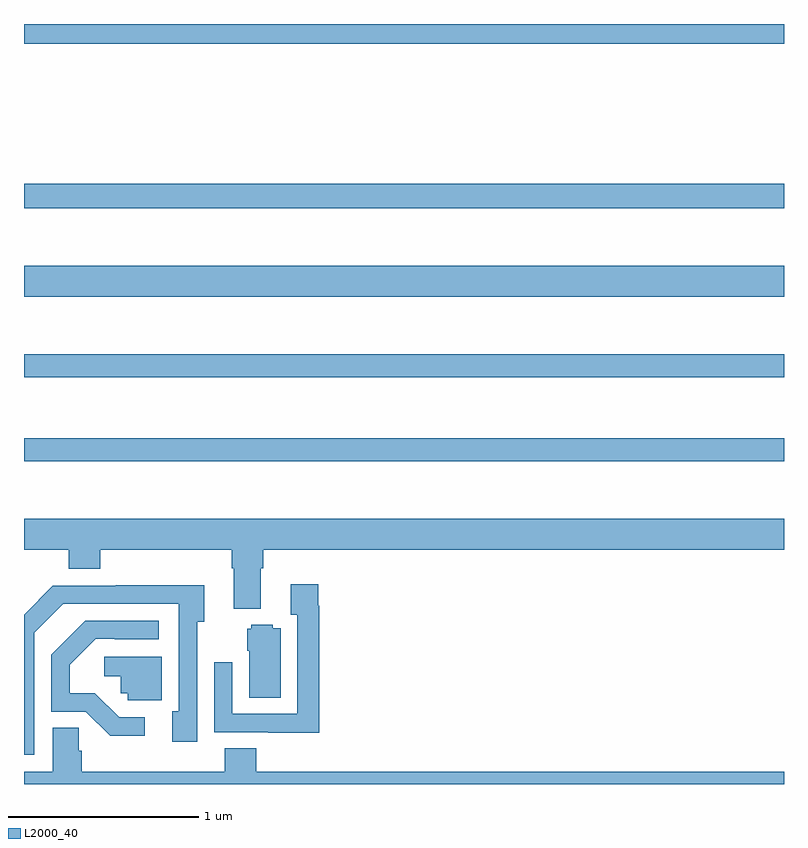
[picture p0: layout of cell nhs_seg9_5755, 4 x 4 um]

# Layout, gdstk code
import gdstk
lib = gdstk.Library(unit=1e-6, precision=1e-09)
def R(c, l, rs):  # rectangles x0, y0, x1, y1
    for r in rs: c.add(gdstk.rectangle(r[:2], r[2:], *l))
def P(c, l, *ps):  # polygons
    for p in ps: c.add(gdstk.Polygon(p, *l))
L2000_40 = (2000, 40)

nhs_seg9_5755 = lib.new_cell('nhs_seg9_5755')
R(nhs_seg9_5755, L2000_40, [(445,1218.198,449,1218.319), (445,1218.642,449,1218.763), (445,1219.064,449,1219.228), (445,1219.53,449,1219.658), (445,1220.396,449,1220.5)])
P(nhs_seg9_5755, L2000_40, [(446.245,1217.636),(446.258,1217.636),(446.258,1217.732),(449,1217.732),(449,1217.896),(445,1217.896),(445,1217.732),(445.235,1217.732),(445.235,1217.633),(445.4,1217.633),(445.4,1217.732),(446.093,1217.732),(446.093,1217.636),(446.105,1217.636),(446.105,1217.423),(446.245,1217.423)],
  [(446.555,1217.438),(446.548,1217.438),(446.548,1217.551),(446.405,1217.551),(446.405,1217.39),(446.439,1217.39),(446.439,1216.869),(446.097,1216.869),(446.097,1217.14),(446.001,1217.14),(446.001,1216.773),(446.285,1216.773),(446.285,1216.769),(446.555,1216.769)],
  [(445.053,1217.295),(445.206,1217.448),(445.815,1217.448),(445.815,1216.882),(445.781,1216.882),(445.781,1216.722),(445.911,1216.722),(445.911,1217.354),(445.948,1217.354),(445.948,1217.546),(445.483,1217.546),(445.483,1217.544),(445.152,1217.544),(445,1217.392),(445,1216.653),(445.053,1216.653)],
  [(445.636,1216.851),(445.5,1216.851),(445.373,1216.978),(445.24,1216.978),(445.24,1217.128),(445.377,1217.265),(445.477,1217.265),(445.477,1217.262),(445.708,1217.262),(445.708,1217.358),(445.322,1217.358),(445.143,1217.179),(445.143,1216.881),(445.326,1216.881),(445.454,1216.754),(445.636,1216.754)],
  [(446.35,1217.32),(446.31,1217.32),(446.31,1217.338),(446.196,1217.338),(446.196,1217.316),(446.174,1217.316),(446.174,1217.202),(446.186,1217.202),(446.186,1216.954),(446.35,1216.954)],
  [(445.726,1217.169),(445.422,1217.169),(445.422,1217.066),(445.509,1217.066),(445.509,1216.977),(445.545,1216.977),(445.545,1216.941),(445.726,1216.941)],
  [(449,1216.564),(446.222,1216.564),(446.222,1216.688),(446.057,1216.688),(446.057,1216.564),(445.304,1216.564),(445.304,1216.674),(445.289,1216.674),(445.289,1216.796),(445.151,1216.796),(445.151,1216.564),(445,1216.564),(445,1216.5),(449,1216.5)])

lib.write_gds('nhs_seg9_5755.gds')
